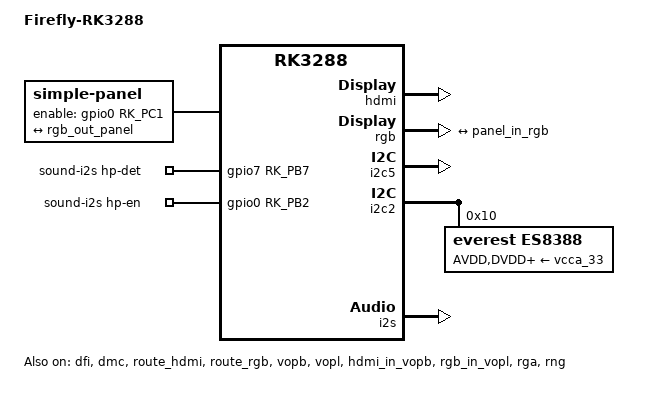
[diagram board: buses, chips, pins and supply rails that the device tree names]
// SPDX-License-Identifier: (GPL-2.0+ OR MIT)
/*
 * Copyright (c) 2014, 2015 FUKAUMI Naoki <naobsd@gmail.com>
 */

/dts-v1/;
#include <dt-bindings/display/media-bus-format.h>
#include "rk3288-firefly.dtsi"
#include "rk3288-linux.dtsi"

/ {
	model = "Firefly-RK3288";
	compatible = "firefly,firefly-rk3288", "rockchip,rk3288";

	chosen {
		bootargs = "vmalloc=496M rw root=PARTUUID=614e0000-0000 rootfstype=ext4 rootwait earlyprintk";
	};

	panel {
		compatible = "simple-panel";
		enable-gpios = <&gpio0 RK_PC1 GPIO_ACTIVE_HIGH>;
		bus-format = <MEDIA_BUS_FMT_RGB888_1X24>;

		display-timings {
			native-mode = <&timing0>;

			timing0: timing0 {
				clock-frequency = <148500000>;
				hactive = <1920>;
				vactive = <1080>;
				hfront-porch = <88>;
				hsync-len = <44>;
				hback-porch = <148>;
				vfront-porch = <4>;
				vsync-len = <5>;
				vback-porch = <36>;
				hsync-active = <0>;
				vsync-active = <0>;
				de-active = <0>;
				pixelclk-active = <0>;
			};
		};

		port {
			panel_in_rgb: endpoint {
				remote-endpoint = <&rgb_out_panel>;
			};
		};
	};

	sound-i2s {
		compatible = "rockchip,rk3288-hdmi-analog";
		pinctrl-names = "default";
		pinctrl-0 = <&phone_ctl>, <&hp_det>;
		rockchip,hp-det-gpios = <&gpio7 RK_PB7 GPIO_ACTIVE_HIGH>;
		rockchip,hp-en-gpios = <&gpio0 RK_PB2 GPIO_ACTIVE_HIGH>;
		rockchip,model = "I2S";
		rockchip,audio-codec = <&es8388>, <&hdmi>;
		rockchip,i2s-controller = <&i2s>;
		rockchip,routing = "Analog", "LOUT2",
				   "Analog", "ROUT2";
	};
};

&dfi {
	status = "okay";
};

&dmc {
	center-supply = <&vdd_log>;
	status = "okay";
};

&route_hdmi {
	status = "okay";
};

&route_rgb {
	status = "okay";
};

&vopb {
	status = "okay";
};

&vopb_mmu {
	status = "okay";
};

&vopl {
	status = "okay";
};

&vopl_mmu {
	status = "okay";
};

&hdmi {
	/delete-property/ pinctrl-names;
	/delete-property/ pinctrl-0;
	/delete-property/ pinctrl-1;
	ddc-i2c-bus = <&i2c5>;
	status = "okay";
};

&hdmi_in_vopb {
	status = "okay";
};

&hdmi_in_vopl {
	status = "disabled";
};

&rgb {
	status = "okay";

	ports {
		port@1 {
			reg = <1>;

			rgb_out_panel: endpoint {
				remote-endpoint = <&panel_in_rgb>;
			};
		};
	};
};

&rgb_in_vopb {
	status = "disabled";
};

&rgb_in_vopl {
	status = "okay";
};

&i2c5 {
	status = "okay";
};

&rga {
	compatible = "rockchip,rga2";
	clocks = <&cru ACLK_RGA>, <&cru HCLK_RGA>, <&cru SCLK_RGA>;
	clock-names = "aclk_rga", "hclk_rga", "clk_rga";
	assigned-clocks = <&cru ACLK_RGA>, <&cru SCLK_RGA>;
	assigned-clock-rates = <300000000>, <300000000>;
	status = "okay";
};

&rng {
	status = "okay";
};

&i2c2 {
	status = "okay";

	es8388: es8388@10 {
		compatible = "everest,es8388", "everest,es8328";
		reg = <0x10>;
		AVDD-supply = <&vcca_33>;
		DVDD-supply = <&vcca_33>;
		HPVDD-supply = <&vcca_33>;
		PVDD-supply = <&vcca_33>;
		clocks = <&cru SCLK_I2S0_OUT>;
		pinctrl-names = "default";
		pinctrl-0 = <&i2s0_mclk>;
	};
};

&i2s {
	status = "okay";
};
